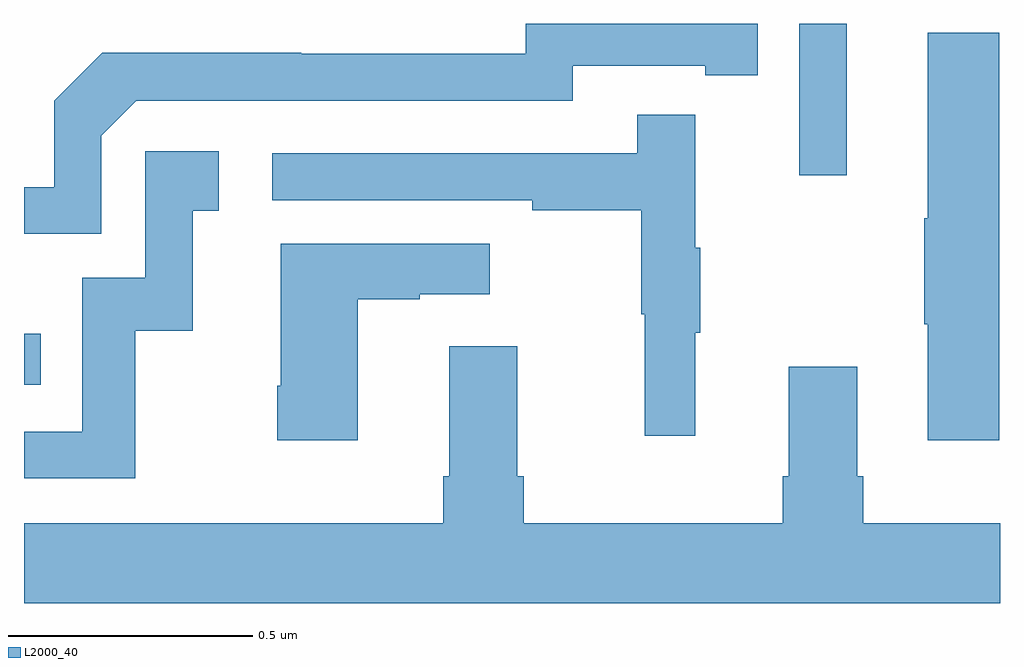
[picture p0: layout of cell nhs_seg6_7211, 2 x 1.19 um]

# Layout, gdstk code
import gdstk
lib = gdstk.Library(unit=1e-6, precision=1e-09)
def R(c, l, rs):  # rectangles x0, y0, x1, y1
    for r in rs: c.add(gdstk.rectangle(r[:2], r[2:], *l))
def P(c, l, *ps):  # polygons
    for p in ps: c.add(gdstk.Polygon(p, *l))
L2000_40 = (2000, 40)

nhs_seg6_7211 = lib.new_cell('nhs_seg6_7211')
R(nhs_seg6_7211, L2000_40, [(205,971.76,205.034,971.865), (206.589,972.189,206.686,972.5)])
P(nhs_seg6_7211, L2000_40, [(205.158,972.27),(205.23,972.342),(206.124,972.342),(206.124,972.414),(206.396,972.414),(206.396,972.394),(206.504,972.394),(206.504,972.5),(206.028,972.5),(206.028,972.438),(205.568,972.438),(205.568,972.44),(205.16,972.44),(205.062,972.342),(205.062,972.165),(205,972.165),(205,972.069),(205.158,972.069)],
  [(206.998,972.481),(206.852,972.481),(206.852,972.101),(206.845,972.101),(206.845,971.884),(206.852,971.884),(206.852,971.646),(206.998,971.646)],
  [(206.375,971.867),(206.386,971.867),(206.386,972.041),(206.375,972.041),(206.375,972.313),(206.257,972.313),(206.257,972.234),(205.509,972.234),(205.509,972.138),(206.041,972.138),(206.041,972.118),(206.265,972.118),(206.265,971.904),(206.272,971.904),(206.272,971.655),(206.375,971.655)],
  [(205.228,971.871),(205.346,971.871),(205.346,972.117),(205.399,972.117),(205.399,972.238),(205.248,972.238),(205.248,971.979),(205.119,971.979),(205.119,971.664),(205,971.664),(205,971.568),(205.228,971.568)],
  [(205.684,971.935),(205.811,971.935),(205.811,971.945),(205.954,971.945),(205.954,972.049),(205.526,972.049),(205.526,971.758),(205.519,971.758),(205.519,971.646),(205.684,971.646)],
  [(207,971.476),(206.72,971.476),(206.72,971.572),(206.707,971.572),(206.707,971.797),(206.567,971.797),(206.567,971.572),(206.555,971.572),(206.555,971.476),(206.024,971.476),(206.024,971.572),(206.011,971.572),(206.011,971.839),(205.871,971.839),(205.871,971.572),(205.859,971.572),(205.859,971.476),(205,971.476),(205,971.312),(207,971.312)])

lib.write_gds('nhs_seg6_7211.gds')
